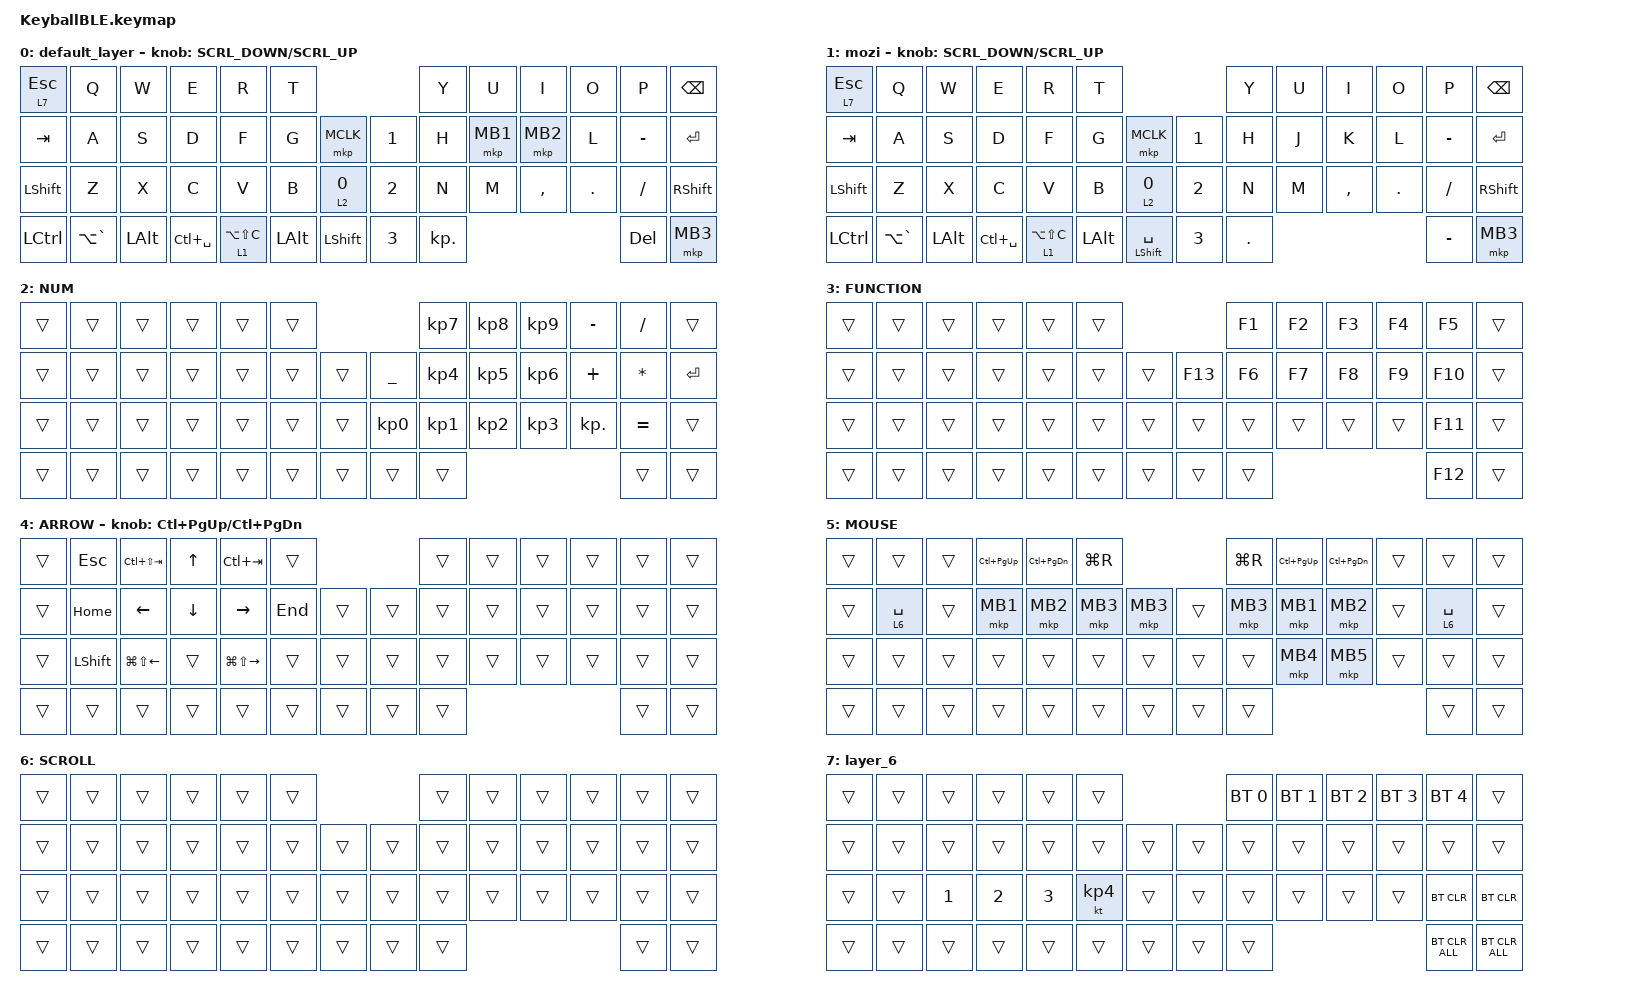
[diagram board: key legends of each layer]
#define ZMK_POINTING_DEFAULT_SCRL_VAL 120    // default: 10

#include <behaviors.dtsi>
#include <dt-bindings/zmk/bt.h>
#include <dt-bindings/zmk/keys.h>
#include <dt-bindings/zmk/pointing.h>

#define MOUSE 4
#define SCROLL 5
#define NUM 6

&mt {
    flavor = "balanced";
    quick-tap-ms = <0>;
};

/ {
    combos {
        compatible = "zmk,combos";

        double_quotation {
            bindings = <&kp DOUBLE_QUOTES>;
            key-positions = <20 21>;
        };
    };

    macros {
        to_layer_0: to_layer_0 {
            compatible = "zmk,behavior-macro-one-param";
            #binding-cells = <1>;
            bindings = <&to 0 &macro_param_1to1 &kp MACRO_PLACEHOLDER>;
            label = "TO_LAYER_0";
        };
    };

    behaviors {
        lt_to_layer_0: lt_to_layer_0 {
            compatible = "zmk,behavior-hold-tap";
            label = "LAYER_TAP_TO_0";
            bindings = <&mo>, <&to_layer_0>;

            #binding-cells = <2>;
            tapping-term-ms = <200>;
        };

        ROTATE: ROTATE {
            compatible = "zmk,behavior-sensor-rotate-var";
            label = "ROTATE";
            #sensor-binding-cells = <2>;
            bindings = <&msc>, <&msc>;

            tap-ms = <20>;
        };
    };

    keymap {
        compatible = "zmk,keymap";

        default_layer {
            bindings = <
&lt 7 ESC  &kp Q          &kp W     &kp E          &kp R            &kp T                                         &kp Y       &kp U     &kp I      &kp O    &kp P      &kp BSPC
&kp TAB    &kp A          &kp S     &kp D          &kp F            &kp G         &mkp MCLK         &kp NUMBER_1  &kp H       &mkp MB1  &mkp MB2   &kp L    &kp MINUS  &kp ENTER
&kp LSHFT  &kp Z          &kp X     &kp C          &kp V            &kp B         &lt 2 NUMBER_0    &kp NUMBER_2  &kp N       &kp M     &kp COMMA  &kp DOT  &kp FSLH   &kp RSHFT
&kp LCTRL  &kp LA(GRAVE)  &kp LALT  &kp LC(SPACE)  &lt 1 LA(LS(C))  &kp LEFT_ALT  &kp LEFT_SHIFT    &kp NUMBER_3  &kp KP_DOT                                &kp DEL    &mkp MB3
            >;

            sensor-bindings = <&ROTATE SCRL_DOWN SCRL_UP>;
        };

        mozi {
            bindings = <
&lt 7 ESC  &kp Q          &kp W     &kp E          &kp R            &kp T                                               &kp Y    &kp U  &kp I      &kp O    &kp P      &kp BSPC
&kp TAB    &kp A          &kp S     &kp D          &kp F            &kp G         &mkp MCLK               &kp NUMBER_1  &kp H    &kp J  &kp K      &kp L    &kp MINUS  &kp ENTER
&kp LSHFT  &kp Z          &kp X     &kp C          &kp V            &kp B         &lt 2 NUMBER_0          &kp NUMBER_2  &kp N    &kp M  &kp COMMA  &kp DOT  &kp FSLH   &kp RSHFT
&kp LCTRL  &kp LA(GRAVE)  &kp LALT  &kp LC(SPACE)  &lt 1 LA(LS(C))  &kp LEFT_ALT  &mt LEFT_SHIFT SPACE    &kp NUMBER_3  &kp DOT                             &kp MINUS  &mkp MB3
            >;

            sensor-bindings = <&ROTATE SCRL_DOWN SCRL_UP>;
        };

        NUM {
            bindings = <
&trans  &trans  &trans  &trans  &trans  &trans                             &kp KP_NUMBER_7  &kp KP_NUMBER_8  &kp KP_NUMBER_9  &kp MINUS   &kp SLASH     &trans
&trans  &trans  &trans  &trans  &trans  &trans  &trans    &kp UNDERSCORE   &kp KP_NUMBER_4  &kp KP_NUMBER_5  &kp KP_NUMBER_6  &kp PLUS    &kp ASTERISK  &kp ENTER
&trans  &trans  &trans  &trans  &trans  &trans  &trans    &kp KP_NUMBER_0  &kp KP_NUMBER_1  &kp KP_NUMBER_2  &kp KP_NUMBER_3  &kp KP_DOT  &kp EQUAL     &trans
&trans  &trans  &trans  &trans  &trans  &trans  &trans    &trans           &trans                                                         &trans        &trans
            >;
        };

        FUNCTION {
            bindings = <
&trans  &trans  &trans  &trans  &trans  &trans                     &kp F1  &kp F2  &kp F3  &kp F4  &kp F5   &trans
&trans  &trans  &trans  &trans  &trans  &trans  &trans    &kp F13  &kp F6  &kp F7  &kp F8  &kp F9  &kp F10  &trans
&trans  &trans  &trans  &trans  &trans  &trans  &trans    &trans   &trans  &trans  &trans  &trans  &kp F11  &trans
&trans  &trans  &trans  &trans  &trans  &trans  &trans    &trans   &trans                          &kp F12  &trans
            >;
        };

        ARROW {
            bindings = <
&trans  &kp ESCAPE      &kp LC(LS(TAB))         &kp UP_ARROW    &kp LC(TAB)              &trans                     &trans  &trans  &trans  &trans  &trans  &trans
&trans  &kp HOME        &kp LEFT_ARROW          &kp DOWN_ARROW  &kp RIGHT_ARROW          &kp END  &trans    &trans  &trans  &trans  &trans  &trans  &trans  &trans
&trans  &kp LEFT_SHIFT  &kp LG(LS(LEFT_ARROW))  &trans          &kp LG(LS(RIGHT_ARROW))  &trans   &trans    &trans  &trans  &trans  &trans  &trans  &trans  &trans
&trans  &trans          &trans                  &trans          &trans                   &trans   &trans    &trans  &trans                          &trans  &trans
            >;

            sensor-bindings = <&inc_dec_kp LC(PAGE_UP) LC(PAGE_DOWN)>;
        };

        MOUSE {
            bindings = <
&trans  &trans       &trans  &kp LC(PAGE_UP)  &kp LC(PAGE_DOWN)  &kp LG(R)                      &kp LG(R)  &kp LC(PAGE_UP)  &kp LC(PAGE_DOWN)  &trans  &trans       &trans
&trans  &lt 6 SPACE  &trans  &mkp MB1         &mkp MB2           &mkp MB3   &mkp MB3    &trans  &mkp MB3   &mkp MB1         &mkp MB2           &trans  &lt 6 SPACE  &trans
&trans  &trans       &trans  &trans           &trans             &trans     &trans      &trans  &trans     &mkp MB4         &mkp MB5           &trans  &trans       &trans
&trans  &trans       &trans  &trans           &trans             &trans     &trans      &trans  &trans                                                 &trans       &trans
            >;
        };

        SCROLL {
            bindings = <
&trans  &trans  &trans  &trans  &trans  &trans                    &trans  &trans  &trans  &trans  &trans  &trans
&trans  &trans  &trans  &trans  &trans  &trans  &trans    &trans  &trans  &trans  &trans  &trans  &trans  &trans
&trans  &trans  &trans  &trans  &trans  &trans  &trans    &trans  &trans  &trans  &trans  &trans  &trans  &trans
&trans  &trans  &trans  &trans  &trans  &trans  &trans    &trans  &trans                          &trans  &trans
            >;
        };

        layer_6 {
            bindings = <
&trans  &trans  &trans        &trans        &trans        &trans                       &bt BT_SEL 0  &bt BT_SEL 1  &bt BT_SEL 2  &bt BT_SEL 3  &bt BT_SEL 4    &trans
&trans  &trans  &trans        &trans        &trans        &trans     &trans    &trans  &trans        &trans        &trans        &trans        &trans          &trans
&trans  &trans  &kp NUMBER_1  &kp NUMBER_2  &kp NUMBER_3  &kt KP_N4  &trans    &trans  &trans        &trans        &trans        &trans        &bt BT_CLR      &bt BT_CLR
&trans  &trans  &trans        &trans        &trans        &trans     &trans    &trans  &trans                                                  &bt BT_CLR_ALL  &bt BT_CLR_ALL
            >;
        };
    };
};
